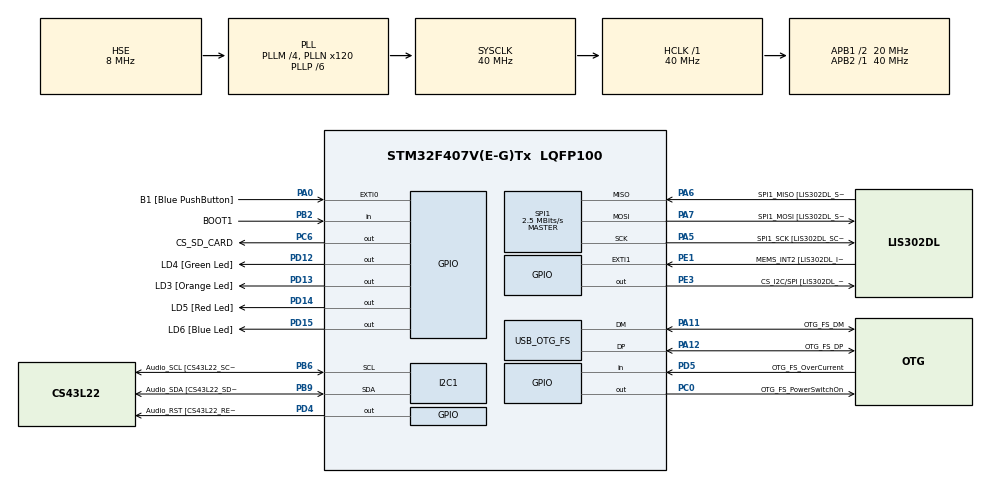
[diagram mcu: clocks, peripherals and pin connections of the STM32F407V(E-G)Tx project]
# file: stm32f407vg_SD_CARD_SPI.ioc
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FATFS._MAX_SS=4096
FATFS._USE_LFN=1
Mcu.Family=STM32F4
Mcu.Name=STM32F407V(E-G)Tx
Mcu.Package=LQFP100
NVIC.OTG_FS_IRQn=true\:0\:0\:false\:false\:true\:true\:true
NVIC.PriorityGroup=NVIC_PRIORITYGROUP_0
NVIC.TIM1_UP_TIM10_IRQn=true\:0\:0\:false\:false\:true\:true\:true
NVIC.TIM2_IRQn=true\:0\:0\:false\:false\:true\:true\:true
NVIC.TIM3_IRQn=true\:0\:0\:false\:false\:true\:true\:true
PA0-WKUP.GPIO_Label=B1 [Blue PushButton]
PA0-WKUP.GPIO_ModeDefaultEXTI=GPIO_MODE_EVT_RISING
PA0-WKUP.GPIO_PuPd=GPIO_NOPULL
PA0-WKUP.Signal=GPXTI0
PA10.GPIO_Label=OTG_FS_ID
PA10.GPIO_Mode=GPIO_MODE_AF_PP
PA10.GPIO_PuPd=GPIO_NOPULL
PA10.GPIO_Speed=GPIO_SPEED_FREQ_LOW
PA10.Signal=USB_OTG_FS_ID
PA11.GPIO_Label=OTG_FS_DM
PA11.GPIO_Mode=GPIO_MODE_AF_PP
PA11.GPIO_PuPd=GPIO_NOPULL
PA11.GPIO_Speed=GPIO_SPEED_FREQ_LOW
PA11.Mode=Device_Only
PA11.Signal=USB_OTG_FS_DM
PA12.GPIO_Label=OTG_FS_DP
PA12.GPIO_Mode=GPIO_MODE_AF_PP
PA12.GPIO_PuPd=GPIO_NOPULL
PA12.GPIO_Speed=GPIO_SPEED_FREQ_LOW
PA12.Mode=Device_Only
PA12.Signal=USB_OTG_FS_DP
PA13.GPIO_Label=SWDIO
PA13.Mode=Serial_Wire
PA13.Signal=SYS_JTMS-SWDIO
PA14.GPIO_Label=SWCLK
PA14.Mode=Serial_Wire
PA14.Signal=SYS_JTCK-SWCLK
PA4.GPIO_Label=I2S3_WS [CS43L22_LRCK]
PA4.GPIO_Mode=GPIO_MODE_AF_PP
PA4.GPIO_PuPd=GPIO_NOPULL
PA4.GPIO_Speed=GPIO_SPEED_FREQ_LOW
PA4.Signal=I2S3_WS
PA5.GPIO_Label=SPI1_SCK [LIS302DL_SCL/SPC]
PA5.GPIO_Mode=GPIO_MODE_AF_PP
PA5.GPIO_PuPd=GPIO_NOPULL
PA5.GPIO_Speed=GPIO_SPEED_FREQ_HIGH
PA5.Mode=Full_Duplex_Master
PA5.Signal=SPI1_SCK
PA6.GPIO_Label=SPI1_MISO [LIS302DL_SDO]
PA6.GPIO_Mode=GPIO_MODE_AF_PP
PA6.GPIO_PuPd=GPIO_NOPULL
PA6.GPIO_Speed=GPIO_SPEED_FREQ_HIGH
PA6.Mode=Full_Duplex_Master
PA6.Signal=SPI1_MISO
PA7.GPIO_Label=SPI1_MOSI [LIS302DL_SDA/SDI/SDO]
PA7.GPIO_Mode=GPIO_MODE_AF_PP
PA7.GPIO_PuPd=GPIO_NOPULL
PA7.GPIO_Speed=GPIO_SPEED_FREQ_HIGH
PA7.Mode=Full_Duplex_Master
PA7.Signal=SPI1_MOSI
PA9.GPIO_Label=VBUS_FS
PA9.GPIO_Mode=GPIO_MODE_INPUT
PA9.GPIO_PuPd=GPIO_NOPULL
PA9.Signal=USB_OTG_FS_VBUS
PB10.GPIO_Label=CLK_IN [MP45DT02_CLK]
PB10.GPIO_Mode=GPIO_MODE_AF_PP
PB10.GPIO_PuPd=GPIO_NOPULL
PB10.GPIO_Speed=GPIO_SPEED_FREQ_LOW
PB10.Signal=I2S2_CK
PB2.GPIO_Label=BOOT1
PB2.GPIO_Mode=GPIO_MODE_INPUT
PB2.GPIO_PuPd=GPIO_NOPULL
PB2.Signal=GPIO_Input
PB3.GPIO_Label=SWO
PB3.Signal=SYS_JTDO-SWO
PB6.GPIO_Label=Audio_SCL [CS43L22_SCL]
PB6.GPIO_Mode=GPIO_MODE_AF_OD
PB6.GPIO_Pu=GPIO_PULLUP
PB6.GPIO_PuPd=GPIO_NOPULL
PB6.GPIO_Speed=GPIO_SPEED_FREQ_LOW
PB6.Mode=I2C
PB6.Signal=I2C1_SCL
PB9.GPIO_Label=Audio_SDA [CS43L22_SDA]
PB9.GPIO_Mode=GPIO_MODE_AF_OD
PB9.GPIO_Pu=GPIO_PULLUP
PB9.GPIO_PuPd=GPIO_NOPULL
PB9.GPIO_Speed=GPIO_SPEED_FREQ_LOW
PB9.Mode=I2C
PB9.Signal=I2C1_SDA
PC0.GPIO_Label=OTG_FS_PowerSwitchOn
PC0.GPIO_PuPd=GPIO_NOPULL
PC0.GPIO_Speed=GPIO_SPEED_FREQ_LOW
PC0.PinState=GPIO_PIN_SET
PC0.Signal=GPIO_Output
PC10.GPIO_Label=I2S3_SCK [CS43L22_SCLK]
PC10.GPIO_Mode=GPIO_MODE_AF_PP
PC10.GPIO_PuPd=GPIO_NOPULL
PC10.GPIO_Speed=GPIO_SPEED_FREQ_LOW
PC10.Signal=I2S3_CK
PC12.GPIO_Label=I2S3_SD [CS43L22_SDIN]
PC12.GPIO_Mode=GPIO_MODE_AF_PP
PC12.GPIO_PuPd=GPIO_NOPULL
PC12.GPIO_Speed=GPIO_SPEED_FREQ_LOW
PC12.Signal=I2S3_SD
PC14-OSC32_IN.GPIO_Label=PC14-OSC32_IN
PC14-OSC32_IN.Signal=RCC_OSC32_IN
PC15-OSC32_OUT.GPIO_Label=PC15-OSC32_OUT
PC15-OSC32_OUT.Signal=RCC_OSC32_OUT
PC3.GPIO_Label=PDM_OUT [MP45DT02_DOUT]
PC3.GPIO_Mode=GPIO_MODE_AF_PP
PC3.GPIO_PuPd=GPIO_NOPULL
PC3.GPIO_Speed=GPIO_SPEED_FREQ_LOW
PC3.Signal=I2S2_SD
PC6.GPIO_Label=CS_SD_CARD
PC6.GPIO_Speed=GPIO_SPEED_FREQ_MEDIUM
PC6.Signal=GPIO_Output
PC7.GPIO_Label=I2S3_MCK [CS43L22_MCLK]
PC7.GPIO_Mode=GPIO_MODE_AF_PP
PC7.GPIO_PuPd=GPIO_NOPULL
PC7.GPIO_Speed=GPIO_SPEED_FREQ_LOW
PC7.Signal=I2S3_MCK
PD12.GPIO_Label=LD4 [Green Led]
PD12.GPIO_PuPd=GPIO_NOPULL
PD12.GPIO_Speed=GPIO_SPEED_FREQ_LOW
PD12.Signal=GPIO_Output
PD13.GPIO_Label=LD3 [Orange Led]
PD13.GPIO_PuPd=GPIO_NOPULL
PD13.GPIO_Speed=GPIO_SPEED_FREQ_LOW
PD13.Signal=GPIO_Output
PD14.GPIO_Label=LD5 [Red Led]
PD14.GPIO_PuPd=GPIO_NOPULL
PD14.GPIO_Speed=GPIO_SPEED_FREQ_LOW
PD14.Signal=GPIO_Output
PD15.GPIO_Label=LD6 [Blue Led]
PD15.GPIO_PuPd=GPIO_NOPULL
PD15.GPIO_Speed=GPIO_SPEED_FREQ_MEDIUM
PD15.Signal=GPIO_Output
PD4.GPIO_Label=Audio_RST [CS43L22_RESET]
PD4.GPIO_PuPd=GPIO_NOPULL
PD4.GPIO_Speed=GPIO_SPEED_FREQ_LOW
PD4.Signal=GPIO_Output
PD5.GPIO_Label=OTG_FS_OverCurrent
PD5.GPIO_Mode=GPIO_MODE_INPUT
PD5.GPIO_PuPd=GPIO_NOPULL
PD5.Signal=GPIO_Input
PE1.GPIO_Label=MEMS_INT2 [LIS302DL_INT2]
PE1.GPIO_ModeDefaultEXTI=GPIO_MODE_EVT_RISING
PE1.GPIO_PuPd=GPIO_NOPULL
PE1.Signal=GPXTI1
PE3.GPIO_Label=CS_I2C/SPI [LIS302DL_CS_I2C/SPI]
PE3.GPIO_PuPd=GPIO_NOPULL
PE3.GPIO_Speed=GPIO_SPEED_FREQ_LOW
PE3.Signal=GPIO_Output
PH0-OSC_IN.GPIO_Label=PH0-OSC_IN
PH0-OSC_IN.Mode=HSE-External-Oscillator
PH0-OSC_IN.Signal=RCC_OSC_IN
PH1-OSC_OUT.GPIO_Label=PH1-OSC_OUT
PH1-OSC_OUT.Mode=HSE-External-Oscillator
PH1-OSC_OUT.Signal=RCC_OSC_OUT
ProjectManager.HeapSize=0x200
ProjectManager.StackSize=0x400
ProjectManager.TargetToolchain=STM32CubeIDE
RCC.48MHZClocksFreq_Value=48000000
RCC.AHBFreq_Value=40000000
RCC.APB1CLKDivider=RCC_HCLK_DIV2
RCC.APB1Freq_Value=20000000
RCC.APB1TimFreq_Value=40000000
RCC.APB2Freq_Value=40000000
RCC.APB2TimFreq_Value=40000000
RCC.CortexFreq_Value=40000000
RCC.HCLKFreq_Value=40000000
RCC.HSE_VALUE=8000000
RCC.HSI_VALUE=16000000
RCC.PLLI2SN=50
RCC.PLLM=4
RCC.PLLN=120
RCC.PLLP=RCC_PLLP_DIV6
RCC.PLLQ=5
RCC.SYSCLKFreq_VALUE=40000000
RCC.SYSCLKSource=RCC_SYSCLKSOURCE_PLLCLK
RCC.VCOOutputFreq_Value=240000000
SPI1.BaudRatePrescaler=SPI_BAUDRATEPRESCALER_16
SPI1.BaudRatePrescaler-Full_Duplex_Master=SPI_BAUDRATEPRESCALER_2
SPI1.CalculateBaudRate=2.5 MBits/s
SPI1.CalculateBaudRate-Full_Duplex_Master=42.0 MBits/s
SPI1.Direction=SPI_DIRECTION_2LINES
SPI1.Mode=SPI_MODE_MASTER
SPI1.Mode-Full_Duplex_Master=SPI_MODE_MASTER
SPI1.VirtualType=VM_MASTER
TIM10.AutoReloadPreload=TIM_AUTORELOAD_PRELOAD_ENABLE
TIM10.Period=10000-1
TIM10.Prescaler=4000-1
TIM2.Period=10-1
TIM2.Prescaler=39999
TIM3.Period=10000
TIM3.Prescaler=4000-1
USB_DEVICE.CLASS_NAME_FS=CDC
USB_DEVICE.VirtualMode-CDC_FS=Cdc
USB_DEVICE.VirtualModeFS=Cdc_FS
USB_OTG_FS.VirtualMode=Device_Only
VP_FATFS_VS_Generic.Mode=User_defined
VP_TIM10_VS_ClockSourceINT.Mode=Enable_Timer
VP_TIM2_VS_ClockSourceINT.Mode=Internal
VP_TIM3_VS_ClockSourceINT.Mode=Internal
VP_USB_DEVICE_VS_USB_DEVICE_CDC_FS.Mode=CDC_FS
board=STM32F407G-DISC1

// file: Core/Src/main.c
/* USER CODE BEGIN Header */
/**
  ******************************************************************************
  * @file           : main.c
  * @brief          : Main program body
  ******************************************************************************
  * @attention
  *
  * <h2><center>&copy; Copyright (c) 2021 STMicroelectronics.
  * All rights reserved.</center></h2>
  *
  * This software component is licensed by ST under Ultimate Liberty license
  * SLA0044, the "License"; You may not use this file except in compliance with
  * the License. You may obtain a copy of the License at:
  *                             www.st.com/SLA0044
  *
  ******************************************************************************
  */
/* USER CODE END Header */
#include "main.h"
#include "fatfs.h"
#include "usb_device.h"

/* USER CODE BEGIN Includes */
#include "usbd_cdc_if.h"

#include "sd.h"
/* USER CODE END Includes */

/* USER CODE BEGIN PM */
#define _USE_LFN 1

volatile uint16_t Timer1=0;
uint8_t sect[512] = {0};				// For read sector
char buffer1[512] ="Selection ... The..."; //Буфер данных для записи/чтения

extern char str1[60];
uint32_t byteswritten,bytesread;
uint8_t result;
extern char USER_Path[4]; /* logical drive path */

FATFS SDFatFs;
FATFS *fs;
FIL MyFile;

/* USER CODE END PM */

I2C_HandleTypeDef hi2c1;

SPI_HandleTypeDef hspi1;

TIM_HandleTypeDef htim2;
TIM_HandleTypeDef htim3;
TIM_HandleTypeDef htim10;

void SystemClock_Config(void);
static void MX_GPIO_Init(void);
static void MX_I2C1_Init(void);
static void MX_SPI1_Init(void);
static void MX_TIM2_Init(void);
static void MX_TIM3_Init(void);
static void MX_TIM10_Init(void);

/* USER CODE BEGIN 0 */
// ------------------------------------------------------------------------------
void write_block(void)
{
	SD_PowerOn();
	sd_ini();

	SD_Write_Block((uint8_t*)buffer1,0x0400); 		// Write block of data
}
// ------------------------------------------------------------------------------
void read_block(void)
{
	SD_PowerOn();
	sd_ini();

	SD_Read_Block(sect,0x0400); 					// Read block of data
}
// ------------------------------------------------------------------------------
FRESULT ReadLongFile(void)
{
	uint16_t i=0, i1=0;
	uint32_t ind=0;
//  uint32_t f_size = MyFile.fsize;
	uint32_t f_size = MyFile.obj.fs->fsize;

	sprintf(str1,"fsize: %lurn",(unsigned long)f_size);
	//HAL_UART_Transmit(&huart1,(uint8_t*)str1,strlen(str1),0x1000);
	ind = 0;
	do
	{
		if(f_size < 512)
		{
			i1 = f_size;
		}
		else
		{
			i1 = 512;
		}
		f_size -= i1;
		f_lseek(&MyFile,ind);
		f_read(&MyFile,sect,i1,(UINT *)&bytesread);

		for(i=0; i<bytesread; i++)
		{
			//HAL_UART_Transmit(&huart1,sect+i,1,0x1000);
			//char test_str[] = "USER_read\n\r\0";
			CDC_Transmit_FS(sect+i, 1);								// <<<<<<<<<<<<,, READ DATA
			//memset(test_str, 0, sizeof(test_str));
		}
		ind += i1;
	} while(f_size>0);
 // HAL_UART_Transmit(&huart1,(uint8_t*)"rn",2,0x1000);
  return FR_OK;
}
// ------------------------------------------------------------------------------
/* Function read file from root dir. If file didn't find, function goes to  Error_Handler
 */
void read_file(char* name)
{
	uint8_t status_d = disk_initialize(SDFatFs.drv);				// return 0

	status_d = f_mount(&SDFatFs,(TCHAR const*)USERPath,0);			// Return 1
	if(status_d != FR_OK)
	{
		Error_Handler();											// Turn OFF green LED if error
	}
	else
	{
		status_d = f_open(&MyFile, name, FA_READ);					// If OK. Return 1
	    if(status_d != FR_OK)
	    {
	    	Error_Handler();
	    }
	    else
	    {
	    	HAL_GPIO_WritePin(GPIOD, LD4_Pin, GPIO_PIN_SET );		// Turn ON GREEN LED if all OKAY
	    	ReadLongFile();											// Read data from file
	    	f_close(&MyFile);										// Close file after reading data
	    }
	 }
}
// ------------------------------------------------------------------------------
// Create file and write data in file
void create_file(char* file_name, char* data, uint16_t size_of_data)
{
  uint8_t status_d = disk_initialize(SDFatFs.drv);

  FRESULT res; 											// Result enum
  //uint8_t wtext[] = "Hello from STM32!!!";

  if(f_mount(&SDFatFs,(TCHAR const*)USERPath,0) != FR_OK)
  {
	  Error_Handler();
  }
  else
  {
	  if(f_open(&MyFile, file_name ,FA_CREATE_ALWAYS|FA_WRITE) != FR_OK)
	  {
		  Error_Handler();
	  }
	  else
	  {
		  res = f_write(&MyFile, data , size_of_data, (void*)&byteswritten);
		  if((byteswritten==0)||(res!=FR_OK))
		  {
			  Error_Handler();
		  }
		  HAL_GPIO_WritePin(GPIOD, LD4_Pin, GPIO_PIN_SET );
		  f_close(&MyFile);
    }
  }
}
// ------------------------------------------------------------------------------
void read_files_and_folders_in_dir(char *dir_path)
{
	FILINFO fileInfo;
	char *fn;
	DIR dir;
	DWORD fre_clust, fre_sect, tot_sect;

	uint8_t status_d = disk_initialize(SDFatFs.drv);
	//read dir
	if(f_mount(&SDFatFs,(TCHAR const*)USERPath,0)!=FR_OK)
	{
		Error_Handler();
	}
	else
	{
		//  fileInfo.altname = (char*)sect;
		//  fileInfo.fsize = sizeof(sect);
		//	fileInfo.altname = (char*)sect;
		//	fileInfo.fsize = sizeof(sect);v

	strcpy(fileInfo.altname, (char*)sect);
	fileInfo.fsize = sizeof(sect);

    result = f_opendir(&dir, dir_path);				// Path to directory. "/" - mean root dir
    if (result == FR_OK)
    {
    	while(1)
    	{
    	    result = f_readdir(&dir, &fileInfo);		// Read dit
    	    if (result==FR_OK && fileInfo.fname[0])		// If there are files
    	    {
    	    	 fn = fileInfo.altname;
    	    	 if(strlen(fn))
    	    	 {
    	    		 // Print name of file
    	    		 //HAL_UART_Transmit(&huart1,(uint8_t*)fn,strlen(fn),0x1000);
    	    		 int w = 99;
    	    	 }
    	    	 else
    	    	 {
    	    		 //HAL_UART_Transmit(&huart1,(uint8_t*)fileInfo.fname,strlen((char*)fileInfo.fname),0x1000);
    	    		 int e = 99;
    	    	 }

    	    	 if(fileInfo.fattrib&AM_DIR)
    	    	 {
    	    	    //HAL_UART_Transmit(&huart1,(uint8_t*)" [DIR]",7,0x1000);
    	    		 int r = 99;
    	    	 }
    	    }
    	    else break;
    	}

    	// print free and used memory
    	f_getfree("/", &fre_clust, &fs);
    	sprintf(str1,"fre_clust: %lurn",fre_clust);
    	//HAL_UART_Transmit(&huart1,(uint8_t*)str1,strlen(str1),0x1000);

    	sprintf(str1,"n_fatent: %lurn",fs->n_fatent);
    	//HAL_UART_Transmit(&huart1,(uint8_t*)str1,strlen(str1),0x1000);

    	sprintf(str1,"fs_csize: %drn",fs->csize);
    	//HAL_UART_Transmit(&huart1,(uint8_t*)str1,strlen(str1),0x1000);

    	tot_sect = (fs->n_fatent - 2) * fs->csize;
    	sprintf(str1,"tot_sect: %lurn",tot_sect);
    	//HAL_UART_Transmit(&huart1,(uint8_t*)str1,strlen(str1),0x1000);

    	fre_sect = fre_clust * fs->csize;
    	sprintf(str1,"fre_sect: %lurn",fre_sect);
    	//HAL_UART_Transmit(&huart1,(uint8_t*)str1,strlen(str1),0x1000);

    	sprintf(str1, "%lu KB total drive space.rn%lu KB available.rn",
    	fre_sect/2, tot_sect/2);
    	//HAL_UART_Transmit(&huart1,(uint8_t*)str1,strlen(str1),0x1000);

    	f_closedir(&dir);
    }
  }
  FATFS_UnLinkDriver(USERPath);
}
// ------------------------------------------------------------------------------

/* USER CODE END 0 */

int main(void)
{
  /* USER CODE BEGIN 1 */
//	FILINFO fileInfo;
//	char *fn;
//	DIR dir;
//	DWORD fre_clust, fre_sect, tot_sect;
  /* USER CODE END 1 */

  /* MCU Configuration--------------------------------------------------------*/

  /* Reset of all peripherals, Initializes the Flash interface and the Systick. */
  HAL_Init();

  /* Configure the system clock */
  SystemClock_Config();

  /* Initialize all configured peripherals */
  MX_GPIO_Init();
  MX_I2C1_Init();
  MX_SPI1_Init();
  MX_TIM2_Init();
  MX_FATFS_Init();
  MX_TIM3_Init();
  MX_USB_DEVICE_Init();
  MX_TIM10_Init();
  /* USER CODE BEGIN 2 */
  HAL_TIM_Base_Start_IT(&htim2);		// For delay

  HAL_TIM_Base_Start_IT(&htim10);		// Tim for blonk BLUE LED

  /* USER CODE END 2 */

  /* Infinite loop */
  /* USER CODE BEGIN WHILE */
  HAL_Delay(100);

  while (1)
  {
	  /////////////////////////////////////////////////////////////
	  // 1. Write/Read blocks. Without FATFS
	  // Write bloks
	  // write_block();

	  // Read blocks
	  // read_block();

	  // 2. Read file with "123.txt" name in root directory
	  // read_file("123.txt");
	  // HAL_Delay(1000);

	  // 3. Write or rewrite file qwerty.txt and sawe where "Test write in file !!!"
	  // char write_data[] = "Test write in file !!!";
	  // create_file("qwerty.txt", write_data , sizeof(write_data));
	  // HAL_Delay(1000);

	  // 4. Read files and folders in dir. "/" - root dir
	  read_files_and_folders_in_dir("/");
	  HAL_Delay(1000);
	  /////////////////////////////////////////////////////////////

    /* USER CODE END WHILE */

  }
}

void SystemClock_Config(void)
{
  RCC_OscInitTypeDef RCC_OscInitStruct = {0};
  RCC_ClkInitTypeDef RCC_ClkInitStruct = {0};

  /** Configure the main internal regulator output voltage
  */
  __HAL_RCC_PWR_CLK_ENABLE();
  __HAL_PWR_VOLTAGESCALING_CONFIG(PWR_REGULATOR_VOLTAGE_SCALE1);
  /** Initializes the RCC Oscillators according to the specified parameters
  * in the RCC_OscInitTypeDef structure.
  */
  RCC_OscInitStruct.OscillatorType = RCC_OSCILLATORTYPE_HSE;
  RCC_OscInitStruct.HSEState = RCC_HSE_ON;
  RCC_OscInitStruct.PLL.PLLState = RCC_PLL_ON;
  RCC_OscInitStruct.PLL.PLLSource = RCC_PLLSOURCE_HSE;
  RCC_OscInitStruct.PLL.PLLM = 4;
  RCC_OscInitStruct.PLL.PLLN = 120;
  RCC_OscInitStruct.PLL.PLLP = RCC_PLLP_DIV6;
  RCC_OscInitStruct.PLL.PLLQ = 5;
  if (HAL_RCC_OscConfig(&RCC_OscInitStruct) != HAL_OK)
  {
    Error_Handler();
  }
  /** Initializes the CPU, AHB and APB buses clocks
  */
  RCC_ClkInitStruct.ClockType = RCC_CLOCKTYPE_HCLK|RCC_CLOCKTYPE_SYSCLK
                              |RCC_CLOCKTYPE_PCLK1|RCC_CLOCKTYPE_PCLK2;
  RCC_ClkInitStruct.SYSCLKSource = RCC_SYSCLKSOURCE_PLLCLK;
  RCC_ClkInitStruct.AHBCLKDivider = RCC_SYSCLK_DIV1;
  RCC_ClkInitStruct.APB1CLKDivider = RCC_HCLK_DIV2;
  RCC_ClkInitStruct.APB2CLKDivider = RCC_HCLK_DIV1;

  if (HAL_RCC_ClockConfig(&RCC_ClkInitStruct, FLASH_LATENCY_1) != HAL_OK)
  {
    Error_Handler();
  }
}

static void MX_I2C1_Init(void)
{

  hi2c1.Instance = I2C1;
  hi2c1.Init.ClockSpeed = 100000;
  hi2c1.Init.DutyCycle = I2C_DUTYCYCLE_2;
  hi2c1.Init.OwnAddress1 = 0;
  hi2c1.Init.AddressingMode = I2C_ADDRESSINGMODE_7BIT;
  hi2c1.Init.DualAddressMode = I2C_DUALADDRESS_DISABLE;
  hi2c1.Init.OwnAddress2 = 0;
  hi2c1.Init.GeneralCallMode = I2C_GENERALCALL_DISABLE;
  hi2c1.Init.NoStretchMode = I2C_NOSTRETCH_DISABLE;
  if (HAL_I2C_Init(&hi2c1) != HAL_OK)
  {
    Error_Handler();
  }

}

static void MX_SPI1_Init(void)
{

  /* SPI1 parameter configuration*/
  hspi1.Instance = SPI1;
  hspi1.Init.Mode = SPI_MODE_MASTER;
  hspi1.Init.Direction = SPI_DIRECTION_2LINES;
  hspi1.Init.DataSize = SPI_DATASIZE_8BIT;
  hspi1.Init.CLKPolarity = SPI_POLARITY_LOW;
  hspi1.Init.CLKPhase = SPI_PHASE_1EDGE;
  hspi1.Init.NSS = SPI_NSS_SOFT;
  hspi1.Init.BaudRatePrescaler = SPI_BAUDRATEPRESCALER_16;
  hspi1.Init.FirstBit = SPI_FIRSTBIT_MSB;
  hspi1.Init.TIMode = SPI_TIMODE_DISABLE;
  hspi1.Init.CRCCalculation = SPI_CRCCALCULATION_DISABLE;
  hspi1.Init.CRCPolynomial = 10;
  if (HAL_SPI_Init(&hspi1) != HAL_OK)
  {
    Error_Handler();
  }

}

static void MX_TIM2_Init(void)
{

  TIM_ClockConfigTypeDef sClockSourceConfig = {0};
  TIM_MasterConfigTypeDef sMasterConfig = {0};

  htim2.Instance = TIM2;
  htim2.Init.Prescaler = 39999;
  htim2.Init.CounterMode = TIM_COUNTERMODE_UP;
  htim2.Init.Period = 10-1;
  htim2.Init.ClockDivision = TIM_CLOCKDIVISION_DIV1;
  htim2.Init.AutoReloadPreload = TIM_AUTORELOAD_PRELOAD_DISABLE;
  if (HAL_TIM_Base_Init(&htim2) != HAL_OK)
  {
    Error_Handler();
  }
  sClockSourceConfig.ClockSource = TIM_CLOCKSOURCE_INTERNAL;
  if (HAL_TIM_ConfigClockSource(&htim2, &sClockSourceConfig) != HAL_OK)
  {
    Error_Handler();
  }
  sMasterConfig.MasterOutputTrigger = TIM_TRGO_RESET;
  sMasterConfig.MasterSlaveMode = TIM_MASTERSLAVEMODE_DISABLE;
  if (HAL_TIMEx_MasterConfigSynchronization(&htim2, &sMasterConfig) != HAL_OK)
  {
    Error_Handler();
  }

}

static void MX_TIM3_Init(void)
{

  TIM_ClockConfigTypeDef sClockSourceConfig = {0};
  TIM_MasterConfigTypeDef sMasterConfig = {0};

  htim3.Instance = TIM3;
  htim3.Init.Prescaler = 4000-1;
  htim3.Init.CounterMode = TIM_COUNTERMODE_UP;
  htim3.Init.Period = 10000;
  htim3.Init.ClockDivision = TIM_CLOCKDIVISION_DIV1;
  htim3.Init.AutoReloadPreload = TIM_AUTORELOAD_PRELOAD_DISABLE;
  if (HAL_TIM_Base_Init(&htim3) != HAL_OK)
  {
    Error_Handler();
  }
  sClockSourceConfig.ClockSource = TIM_CLOCKSOURCE_INTERNAL;
  if (HAL_TIM_ConfigClockSource(&htim3, &sClockSourceConfig) != HAL_OK)
  {
    Error_Handler();
  }
  sMasterConfig.MasterOutputTrigger = TIM_TRGO_RESET;
  sMasterConfig.MasterSlaveMode = TIM_MASTERSLAVEMODE_DISABLE;
  if (HAL_TIMEx_MasterConfigSynchronization(&htim3, &sMasterConfig) != HAL_OK)
  {
    Error_Handler();
  }

}

static void MX_TIM10_Init(void)
{

  htim10.Instance = TIM10;
  htim10.Init.Prescaler = 4000-1;
  htim10.Init.CounterMode = TIM_COUNTERMODE_UP;
  htim10.Init.Period = 10000-1;
  htim10.Init.ClockDivision = TIM_CLOCKDIVISION_DIV1;
  htim10.Init.AutoReloadPreload = TIM_AUTORELOAD_PRELOAD_ENABLE;
  if (HAL_TIM_Base_Init(&htim10) != HAL_OK)
  {
    Error_Handler();
  }

}

static void MX_GPIO_Init(void)
{
  GPIO_InitTypeDef GPIO_InitStruct = {0};

  /* GPIO Ports Clock Enable */
  __HAL_RCC_GPIOE_CLK_ENABLE();
  __HAL_RCC_GPIOC_CLK_ENABLE();
  __HAL_RCC_GPIOH_CLK_ENABLE();
  __HAL_RCC_GPIOA_CLK_ENABLE();
  __HAL_RCC_GPIOB_CLK_ENABLE();
  __HAL_RCC_GPIOD_CLK_ENABLE();

  /*Configure GPIO pin Output Level */
  HAL_GPIO_WritePin(CS_I2C_SPI_GPIO_Port, CS_I2C_SPI_Pin, GPIO_PIN_RESET);

  /*Configure GPIO pin Output Level */
  HAL_GPIO_WritePin(OTG_FS_PowerSwitchOn_GPIO_Port, OTG_FS_PowerSwitchOn_Pin, GPIO_PIN_SET);

  /*Configure GPIO pin Output Level */
  HAL_GPIO_WritePin(GPIOD, LD4_Pin|LD3_Pin|LD5_Pin|LD6_Pin
                          |Audio_RST_Pin, GPIO_PIN_RESET);

  /*Configure GPIO pin Output Level */
  HAL_GPIO_WritePin(CS_SD_CARD_GPIO_Port, CS_SD_CARD_Pin, GPIO_PIN_RESET);

  /*Configure GPIO pin : CS_I2C_SPI_Pin */
  GPIO_InitStruct.Pin = CS_I2C_SPI_Pin;
  GPIO_InitStruct.Mode = GPIO_MODE_OUTPUT_PP;
  GPIO_InitStruct.Pull = GPIO_NOPULL;
  GPIO_InitStruct.Speed = GPIO_SPEED_FREQ_LOW;
  HAL_GPIO_Init(CS_I2C_SPI_GPIO_Port, &GPIO_InitStruct);

  /*Configure GPIO pin : OTG_FS_PowerSwitchOn_Pin */
  GPIO_InitStruct.Pin = OTG_FS_PowerSwitchOn_Pin;
  GPIO_InitStruct.Mode = GPIO_MODE_OUTPUT_PP;
  GPIO_InitStruct.Pull = GPIO_NOPULL;
  GPIO_InitStruct.Speed = GPIO_SPEED_FREQ_LOW;
  HAL_GPIO_Init(OTG_FS_PowerSwitchOn_GPIO_Port, &GPIO_InitStruct);

  /*Configure GPIO pin : PDM_OUT_Pin */
  GPIO_InitStruct.Pin = PDM_OUT_Pin;
  GPIO_InitStruct.Mode = GPIO_MODE_AF_PP;
  GPIO_InitStruct.Pull = GPIO_NOPULL;
  GPIO_InitStruct.Speed = GPIO_SPEED_FREQ_LOW;
  GPIO_InitStruct.Alternate = GPIO_AF5_SPI2;
  HAL_GPIO_Init(PDM_OUT_GPIO_Port, &GPIO_InitStruct);

  /*Configure GPIO pin : B1_Pin */
  GPIO_InitStruct.Pin = B1_Pin;
  GPIO_InitStruct.Mode = GPIO_MODE_EVT_RISING;
  GPIO_InitStruct.Pull = GPIO_NOPULL;
  HAL_GPIO_Init(B1_GPIO_Port, &GPIO_InitStruct);

  /*Configure GPIO pin : I2S3_WS_Pin */
  GPIO_InitStruct.Pin = I2S3_WS_Pin;
  GPIO_InitStruct.Mode = GPIO_MODE_AF_PP;
  GPIO_InitStruct.Pull = GPIO_NOPULL;
  GPIO_InitStruct.Speed = GPIO_SPEED_FREQ_LOW;
  GPIO_InitStruct.Alternate = GPIO_AF6_SPI3;
  HAL_GPIO_Init(I2S3_WS_GPIO_Port, &GPIO_InitStruct);

  /*Configure GPIO pin : BOOT1_Pin */
  GPIO_InitStruct.Pin = BOOT1_Pin;
  GPIO_InitStruct.Mode = GPIO_MODE_INPUT;
  GPIO_InitStruct.Pull = GPIO_NOPULL;
  HAL_GPIO_Init(BOOT1_GPIO_Port, &GPIO_InitStruct);

  /*Configure GPIO pin : CLK_IN_Pin */
  GPIO_InitStruct.Pin = CLK_IN_Pin;
  GPIO_InitStruct.Mode = GPIO_MODE_AF_PP;
  GPIO_InitStruct.Pull = GPIO_NOPULL;
  GPIO_InitStruct.Speed = GPIO_SPEED_FREQ_LOW;
  GPIO_InitStruct.Alternate = GPIO_AF5_SPI2;
  HAL_GPIO_Init(CLK_IN_GPIO_Port, &GPIO_InitStruct);

  /*Configure GPIO pins : LD4_Pin LD3_Pin LD5_Pin Audio_RST_Pin */
  GPIO_InitStruct.Pin = LD4_Pin|LD3_Pin|LD5_Pin|Audio_RST_Pin;
  GPIO_InitStruct.Mode = GPIO_MODE_OUTPUT_PP;
  GPIO_InitStruct.Pull = GPIO_NOPULL;
  GPIO_InitStruct.Speed = GPIO_SPEED_FREQ_LOW;
  HAL_GPIO_Init(GPIOD, &GPIO_InitStruct);

  /*Configure GPIO pin : LD6_Pin */
  GPIO_InitStruct.Pin = LD6_Pin;
  GPIO_InitStruct.Mode = GPIO_MODE_OUTPUT_PP;
  GPIO_InitStruct.Pull = GPIO_NOPULL;
  GPIO_InitStruct.Speed = GPIO_SPEED_FREQ_MEDIUM;
  HAL_GPIO_Init(LD6_GPIO_Port, &GPIO_InitStruct);

  /*Configure GPIO pin : CS_SD_CARD_Pin */
  GPIO_InitStruct.Pin = CS_SD_CARD_Pin;
  GPIO_InitStruct.Mode = GPIO_MODE_OUTPUT_PP;
  GPIO_InitStruct.Pull = GPIO_NOPULL;
  GPIO_InitStruct.Speed = GPIO_SPEED_FREQ_MEDIUM;
  HAL_GPIO_Init(CS_SD_CARD_GPIO_Port, &GPIO_InitStruct);

  /*Configure GPIO pins : I2S3_MCK_Pin I2S3_SCK_Pin I2S3_SD_Pin */
  GPIO_InitStruct.Pin = I2S3_MCK_Pin|I2S3_SCK_Pin|I2S3_SD_Pin;
  GPIO_InitStruct.Mode = GPIO_MODE_AF_PP;
  GPIO_InitStruct.Pull = GPIO_NOPULL;
  GPIO_InitStruct.Speed = GPIO_SPEED_FREQ_LOW;
  GPIO_InitStruct.Alternate = GPIO_AF6_SPI3;
  HAL_GPIO_Init(GPIOC, &GPIO_InitStruct);

  /*Configure GPIO pin : OTG_FS_OverCurrent_Pin */
  GPIO_InitStruct.Pin = OTG_FS_OverCurrent_Pin;
  GPIO_InitStruct.Mode = GPIO_MODE_INPUT;
  GPIO_InitStruct.Pull = GPIO_NOPULL;
  HAL_GPIO_Init(OTG_FS_OverCurrent_GPIO_Port, &GPIO_InitStruct);

  /*Configure GPIO pin : MEMS_INT2_Pin */
  GPIO_InitStruct.Pin = MEMS_INT2_Pin;
  GPIO_InitStruct.Mode = GPIO_MODE_EVT_RISING;
  GPIO_InitStruct.Pull = GPIO_NOPULL;
  HAL_GPIO_Init(MEMS_INT2_GPIO_Port, &GPIO_InitStruct);

}

/* USER CODE BEGIN 4 */

//----------------------------------------------------------
void HAL_TIM_PeriodElapsedCallback(TIM_HandleTypeDef *htim)
{
	if(htim == &htim2)
	{
		// HAL_GPIO_TogglePin(GPIOD, LD6_Pin); // For test ()
		Timer1++;
	}
	if(htim == &htim10)				// Blink led
	{
		HAL_GPIO_TogglePin(GPIOD, LD6_Pin);
	}
}
//----------------------------------------------------------
/* USER CODE END 4 */

void Error_Handler(void)
{
  /* USER CODE BEGIN Error_Handler_Debug */
  /* User can add his own implementation to report the HAL error return state */
	HAL_GPIO_WritePin(GPIOD, LD4_Pin, GPIO_PIN_RESET );

  __disable_irq();	// Turn OFF all interrupts
  while (1)
  {
  }
  /* USER CODE END Error_Handler_Debug */
}

/************************ (C) COPYRIGHT STMicroelectronics *****END OF FILE****/
